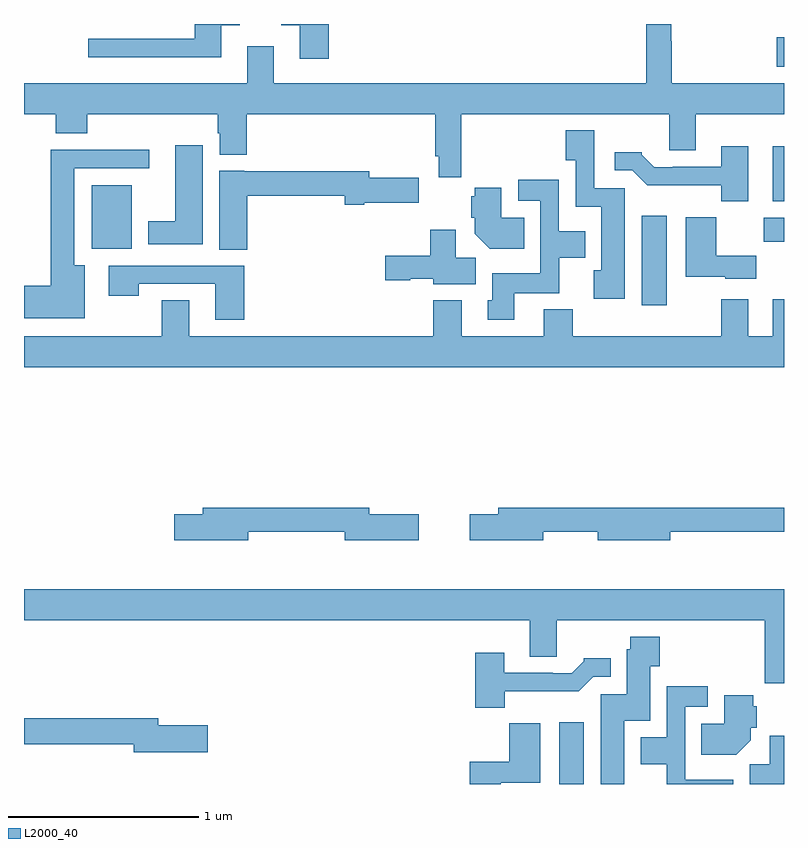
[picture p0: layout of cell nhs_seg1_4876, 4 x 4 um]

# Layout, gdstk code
import gdstk
lib = gdstk.Library(unit=1e-6, precision=1e-09)
def R(c, l, rs):  # rectangles x0, y0, x1, y1
    for r in rs: c.add(gdstk.rectangle(r[:2], r[2:], *l))
def P(c, l, *ps):  # polygons
    for p in ps: c.add(gdstk.Polygon(p, *l))
L2000_40 = (2000, 40)

nhs_seg1_4876 = lib.new_cell('nhs_seg1_4876')
R(nhs_seg1_4876, L2000_40, [(377.816,556.199,377.947,556.525), (378.251,558.72,378.382,559.189), (375.356,559.016,375.568,559.351), (378.894,559.053,379,559.18), (378.941,559.265,379,559.555), (378.962,559.974,379,560.13)])
P(nhs_seg1_4876, L2000_40, [(376.604,560.199),(376.355,560.199),(376.355,560.193),(376.451,560.193),(376.451,560.016),(376.604,560.016)],
  [(376.039,560.193),(376.135,560.193),(376.135,560.199),(375.899,560.199),(375.899,560.121),(375.339,560.121),(375.339,560.024),(376.039,560.024)],
  [(377.3,559.724),(378.395,559.724),(378.395,559.534),(378.535,559.534),(378.535,559.724),(379,559.724),(379,559.888),(378.41,559.888),(378.41,560.108),(378.406,560.108),(378.406,560.199),(378.274,560.199),(378.274,559.888),(376.315,559.888),(376.315,560.083),(376.175,560.083),(376.175,559.888),(375,559.888),(375,559.724),(375.167,559.724),(375.167,559.625),(375.332,559.625),(375.332,559.724),(376.019,559.724),(376.019,559.623),(376.031,559.623),(376.031,559.511),(376.172,559.511),(376.172,559.724),(377.164,559.724),(377.164,559.504),(377.184,559.504),(377.184,559.392),(377.3,559.392)],
  [(378.163,559.335),(378,559.335),(378,559.639),(377.852,559.639),(377.852,559.483),(377.904,559.483),(377.904,559.238),(378.038,559.238),(378.038,558.902),(377.999,558.902),(377.999,558.752),(378.163,558.752)],
  [(375.94,559.561),(375.797,559.561),(375.797,559.162),(375.653,559.162),(375.653,559.04),(375.94,559.04)],
  [(378.811,559.555),(378.671,559.555),(378.671,559.449),(378.415,559.449),(378.415,559.446),(378.316,559.446),(378.252,559.51),(378.252,559.525),(378.108,559.525),(378.108,559.428),(378.201,559.428),(378.28,559.35),(378.669,559.35),(378.669,559.265),(378.811,559.265)],
  [(375.319,558.928),(375.265,558.928),(375.265,559.44),(375.658,559.44),(375.658,559.538),(375.14,559.538),(375.14,558.821),(375,558.821),(375,558.65),(375.319,558.65)],
  [(376.175,559.294),(376.688,559.294),(376.688,559.247),(376.792,559.247),(376.792,559.259),(377.077,559.259),(377.077,559.389),(376.816,559.389),(376.816,559.423),(376.158,559.423),(376.158,559.426),(376.028,559.426),(376.028,559.012),(376.175,559.012)],
  [(377.581,558.782),(377.816,558.782),(377.816,558.969),(377.953,558.969),(377.953,559.108),(377.814,559.108),(377.814,559.378),(377.601,559.378),(377.601,559.269),(377.718,559.269),(377.718,558.886),(377.465,558.886),(377.465,558.744),(377.441,558.744),(377.441,558.642),(377.581,558.642)],
  [(377.633,559.18),(377.512,559.18),(377.512,559.338),(377.372,559.338),(377.372,559.293),(377.354,559.293),(377.354,559.179),(377.372,559.179),(377.372,559.094),(377.45,559.016),(377.633,559.016)],
  [(378.853,558.978),(378.644,558.978),(378.644,559.183),(378.482,559.183),(378.482,558.869),(378.69,558.869),(378.69,558.857),(378.853,558.857)],
  [(377.377,558.968),(377.272,558.968),(377.272,559.117),(377.138,559.117),(377.138,558.979),(376.902,558.979),(376.902,558.85),(377.034,558.85),(377.034,558.857),(377.154,558.857),(377.154,558.83),(377.377,558.83)],
  [(376.16,558.927),(375.447,558.927),(375.447,558.768),(375.603,558.768),(375.603,558.831),(376.007,558.831),(376.007,558.642),(376.16,558.642)],
  [(379,558.751),(378.941,558.751),(378.941,558.556),(378.811,558.556),(378.811,558.751),(378.671,558.751),(378.671,558.556),(377.888,558.556),(377.888,558.697),(377.735,558.697),(377.735,558.556),(377.305,558.556),(377.305,558.745),(377.153,558.745),(377.153,558.556),(375.871,558.556),(375.871,558.746),(375.724,558.746),(375.724,558.556),(375,558.556),(375,558.392),(379,558.392)],
  [(377.734,557.526),(378.02,557.526),(378.02,557.483),(378.4,557.483),(378.4,557.526),(379,557.526),(379,557.654),(377.495,557.654),(377.495,557.618),(377.346,557.618),(377.346,557.483),(377.734,557.483)],
  [(376.18,557.526),(376.688,557.526),(376.688,557.483),(377.077,557.483),(377.077,557.618),(376.816,557.618),(376.816,557.654),(375.941,557.654),(375.941,557.618),(375.792,557.618),(375.792,557.483),(376.18,557.483)],
  [(379,557.224),(375,557.224),(375,557.06),(377.663,557.06),(377.663,556.87),(377.803,556.87),(377.803,557.06),(378.898,557.06),(378.898,556.728),(379,556.728)],
  [(378.16,556.532),(378.295,556.532),(378.295,556.819),(378.347,556.819),(378.347,556.975),(378.19,556.975),(378.19,556.908),(378.173,556.908),(378.173,556.671),(378.035,556.671),(378.035,556.199),(378.16,556.199)],
  [(377.53,556.686),(377.919,556.686),(377.997,556.764),(378.088,556.764),(378.088,556.861),(377.946,556.861),(377.946,556.846),(377.882,556.782),(377.783,556.782),(377.783,556.785),(377.527,556.785),(377.527,556.891),(377.375,556.891),(377.375,556.601),(377.53,556.601)],
  [(378.733,556.222),(378.48,556.222),(378.48,556.605),(378.598,556.605),(378.598,556.714),(378.384,556.714),(378.384,556.444),(378.245,556.444),(378.245,556.304),(378.382,556.304),(378.382,556.199),(378.733,556.199)],
  [(378.826,556.43),(378.826,556.494),(378.856,556.494),(378.856,556.608),(378.839,556.608),(378.839,556.666),(378.686,556.666),(378.686,556.516),(378.565,556.516),(378.565,556.352),(378.748,556.352)],
  [(375.967,556.508),(375.706,556.508),(375.706,556.544),(375,556.544),(375,556.408),(375.578,556.408),(375.578,556.366),(375.967,556.366)],
  [(377.508,556.205),(377.716,556.205),(377.716,556.519),(377.554,556.519),(377.554,556.315),(377.346,556.315),(377.346,556.199),(377.508,556.199)],
  [(379,556.453),(378.926,556.453),(378.926,556.304),(378.821,556.304),(378.821,556.199),(379,556.199)])

lib.write_gds('nhs_seg1_4876.gds')
